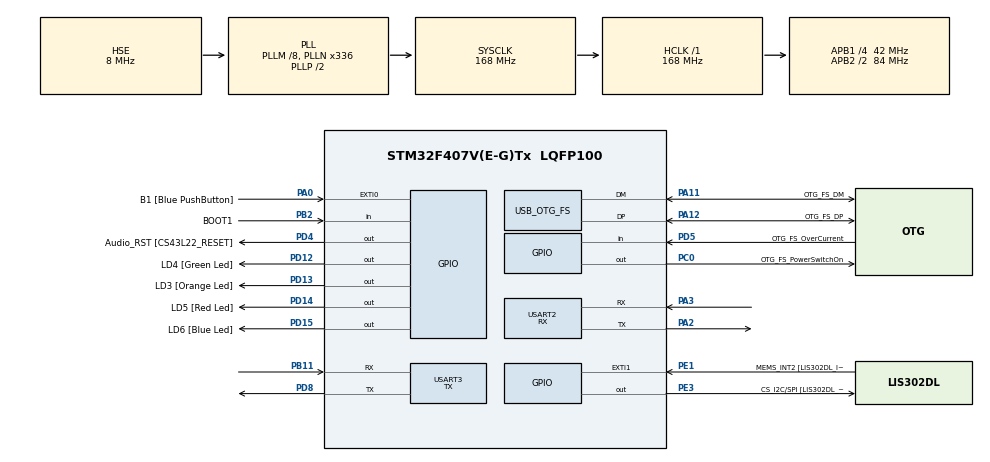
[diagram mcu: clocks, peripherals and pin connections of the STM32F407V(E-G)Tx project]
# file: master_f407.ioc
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Mcu.Family=STM32F4
Mcu.Name=STM32F407V(E-G)Tx
Mcu.Package=LQFP100
NVIC.OTG_FS_IRQn=true\:0\:0\:false\:false\:true\:true\:true\:true
NVIC.PriorityGroup=NVIC_PRIORITYGROUP_0
NVIC.USART2_IRQn=true\:0\:0\:false\:false\:true\:true\:true\:true
PA0-WKUP.GPIO_Label=B1 [Blue PushButton]
PA0-WKUP.GPIO_ModeDefaultEXTI=GPIO_MODE_EVT_RISING
PA0-WKUP.GPIO_PuPd=GPIO_NOPULL
PA0-WKUP.Signal=GPXTI0
PA10.GPIO_Label=OTG_FS_ID
PA10.GPIO_Mode=GPIO_MODE_AF_PP
PA10.GPIO_PuPd=GPIO_NOPULL
PA10.GPIO_Speed=GPIO_SPEED_FREQ_LOW
PA10.Signal=USB_OTG_FS_ID
PA11.GPIO_Label=OTG_FS_DM
PA11.GPIO_Mode=GPIO_MODE_AF_PP
PA11.GPIO_PuPd=GPIO_NOPULL
PA11.GPIO_Speed=GPIO_SPEED_FREQ_LOW
PA11.Mode=Device_Only
PA11.Signal=USB_OTG_FS_DM
PA12.GPIO_Label=OTG_FS_DP
PA12.GPIO_Mode=GPIO_MODE_AF_PP
PA12.GPIO_PuPd=GPIO_NOPULL
PA12.GPIO_Speed=GPIO_SPEED_FREQ_LOW
PA12.Mode=Device_Only
PA12.Signal=USB_OTG_FS_DP
PA13.GPIO_Label=SWDIO
PA13.Mode=Serial_Wire
PA13.Signal=SYS_JTMS-SWDIO
PA14.GPIO_Label=SWCLK
PA14.Mode=Serial_Wire
PA14.Signal=SYS_JTCK-SWCLK
PA2.Mode=Asynchronous
PA2.Signal=USART2_TX
PA3.Mode=Asynchronous
PA3.Signal=USART2_RX
PA4.GPIO_Label=I2S3_WS [CS43L22_LRCK]
PA4.GPIO_Mode=GPIO_MODE_AF_PP
PA4.GPIO_PuPd=GPIO_NOPULL
PA4.GPIO_Speed=GPIO_SPEED_FREQ_LOW
PA4.Signal=I2S3_WS
PA5.GPIO_Label=SPI1_SCK [LIS302DL_SCL/SPC]
PA5.GPIO_Mode=GPIO_MODE_AF_PP
PA5.GPIO_PuPd=GPIO_NOPULL
PA5.GPIO_Speed=GPIO_SPEED_FREQ_LOW
PA5.Signal=SPI1_SCK
PA6.GPIO_Label=SPI1_MISO [LIS302DL_SDO]
PA6.GPIO_Mode=GPIO_MODE_AF_PP
PA6.GPIO_PuPd=GPIO_NOPULL
PA6.GPIO_Speed=GPIO_SPEED_FREQ_LOW
PA6.Signal=SPI1_MISO
PA7.GPIO_Label=SPI1_MOSI [LIS302DL_SDA/SDI/SDO]
PA7.GPIO_Mode=GPIO_MODE_AF_PP
PA7.GPIO_PuPd=GPIO_NOPULL
PA7.GPIO_Speed=GPIO_SPEED_FREQ_LOW
PA7.Signal=SPI1_MOSI
PA9.GPIO_Label=VBUS_FS
PA9.GPIO_Mode=GPIO_MODE_INPUT
PA9.GPIO_PuPd=GPIO_NOPULL
PA9.Signal=USB_OTG_FS_VBUS
PB10.GPIO_Label=CLK_IN [MP45DT02_CLK]
PB10.GPIO_Mode=GPIO_MODE_AF_PP
PB10.GPIO_PuPd=GPIO_NOPULL
PB10.GPIO_Speed=GPIO_SPEED_FREQ_LOW
PB10.Signal=I2S2_CK
PB11.Mode=Asynchronous
PB11.Signal=USART3_RX
PB2.GPIO_Label=BOOT1
PB2.GPIO_Mode=GPIO_MODE_INPUT
PB2.GPIO_PuPd=GPIO_NOPULL
PB2.Signal=GPIO_Input
PB3.GPIO_Label=SWO
PB3.Signal=SYS_JTDO-SWO
PB6.GPIO_Label=Audio_SCL [CS43L22_SCL]
PB6.GPIO_Mode=GPIO_MODE_AF_OD
PB6.GPIO_Pu=GPIO_PULLUP
PB6.GPIO_PuPd=GPIO_NOPULL
PB6.GPIO_Speed=GPIO_SPEED_FREQ_LOW
PB6.Signal=I2C1_SCL
PB9.GPIO_Label=Audio_SDA [CS43L22_SDA]
PB9.GPIO_Mode=GPIO_MODE_AF_OD
PB9.GPIO_Pu=GPIO_PULLUP
PB9.GPIO_PuPd=GPIO_NOPULL
PB9.GPIO_Speed=GPIO_SPEED_FREQ_LOW
PB9.Signal=I2C1_SDA
PC0.GPIO_Label=OTG_FS_PowerSwitchOn
PC0.GPIO_PuPd=GPIO_NOPULL
PC0.GPIO_Speed=GPIO_SPEED_FREQ_LOW
PC0.PinState=GPIO_PIN_SET
PC0.Signal=GPIO_Output
PC10.GPIO_Label=I2S3_SCK [CS43L22_SCLK]
PC10.GPIO_Mode=GPIO_MODE_AF_PP
PC10.GPIO_PuPd=GPIO_NOPULL
PC10.GPIO_Speed=GPIO_SPEED_FREQ_LOW
PC10.Signal=I2S3_CK
PC12.GPIO_Label=I2S3_SD [CS43L22_SDIN]
PC12.GPIO_Mode=GPIO_MODE_AF_PP
PC12.GPIO_PuPd=GPIO_NOPULL
PC12.GPIO_Speed=GPIO_SPEED_FREQ_LOW
PC12.Signal=I2S3_SD
PC14-OSC32_IN.GPIO_Label=PC14-OSC32_IN
PC14-OSC32_IN.Mode=LSE-External-Oscillator
PC14-OSC32_IN.Signal=RCC_OSC32_IN
PC15-OSC32_OUT.GPIO_Label=PC15-OSC32_OUT
PC15-OSC32_OUT.Mode=LSE-External-Oscillator
PC15-OSC32_OUT.Signal=RCC_OSC32_OUT
PC3.GPIO_Label=PDM_OUT [MP45DT02_DOUT]
PC3.GPIO_Mode=GPIO_MODE_AF_PP
PC3.GPIO_PuPd=GPIO_NOPULL
PC3.GPIO_Speed=GPIO_SPEED_FREQ_LOW
PC3.Signal=I2S2_SD
PC7.GPIO_Label=I2S3_MCK [CS43L22_MCLK]
PC7.GPIO_Mode=GPIO_MODE_AF_PP
PC7.GPIO_PuPd=GPIO_NOPULL
PC7.GPIO_Speed=GPIO_SPEED_FREQ_LOW
PC7.Signal=I2S3_MCK
PD12.GPIO_Label=LD4 [Green Led]
PD12.GPIO_PuPd=GPIO_NOPULL
PD12.GPIO_Speed=GPIO_SPEED_FREQ_LOW
PD12.Signal=GPIO_Output
PD13.GPIO_Label=LD3 [Orange Led]
PD13.GPIO_PuPd=GPIO_NOPULL
PD13.GPIO_Speed=GPIO_SPEED_FREQ_LOW
PD13.Signal=GPIO_Output
PD14.GPIO_Label=LD5 [Red Led]
PD14.GPIO_PuPd=GPIO_NOPULL
PD14.GPIO_Speed=GPIO_SPEED_FREQ_LOW
PD14.Signal=GPIO_Output
PD15.GPIO_Label=LD6 [Blue Led]
PD15.GPIO_PuPd=GPIO_NOPULL
PD15.GPIO_Speed=GPIO_SPEED_FREQ_LOW
PD15.Signal=GPIO_Output
PD4.GPIO_Label=Audio_RST [CS43L22_RESET]
PD4.GPIO_PuPd=GPIO_NOPULL
PD4.GPIO_Speed=GPIO_SPEED_FREQ_LOW
PD4.Signal=GPIO_Output
PD5.GPIO_Label=OTG_FS_OverCurrent
PD5.GPIO_Mode=GPIO_MODE_INPUT
PD5.GPIO_PuPd=GPIO_NOPULL
PD5.Signal=GPIO_Input
PD8.Mode=Asynchronous
PD8.Signal=USART3_TX
PE1.GPIO_Label=MEMS_INT2 [LIS302DL_INT2]
PE1.GPIO_ModeDefaultEXTI=GPIO_MODE_EVT_RISING
PE1.GPIO_PuPd=GPIO_NOPULL
PE1.Signal=GPXTI1
PE3.GPIO_Label=CS_I2C/SPI [LIS302DL_CS_I2C/SPI]
PE3.GPIO_PuPd=GPIO_NOPULL
PE3.GPIO_Speed=GPIO_SPEED_FREQ_LOW
PE3.Signal=GPIO_Output
PH0-OSC_IN.GPIO_Label=PH0-OSC_IN
PH0-OSC_IN.Mode=HSE-External-Oscillator
PH0-OSC_IN.Signal=RCC_OSC_IN
PH1-OSC_OUT.GPIO_Label=PH1-OSC_OUT
PH1-OSC_OUT.Mode=HSE-External-Oscillator
PH1-OSC_OUT.Signal=RCC_OSC_OUT
ProjectManager.HeapSize=0x200
ProjectManager.StackSize=0x400
ProjectManager.TargetToolchain=STM32CubeIDE
RCC.48MHZClocksFreq_Value=48000000
RCC.AHBFreq_Value=168000000
RCC.APB1CLKDivider=RCC_HCLK_DIV4
RCC.APB1Freq_Value=42000000
RCC.APB1TimFreq_Value=84000000
RCC.APB2CLKDivider=RCC_HCLK_DIV2
RCC.APB2Freq_Value=84000000
RCC.APB2TimFreq_Value=168000000
RCC.CortexFreq_Value=168000000
RCC.HCLKFreq_Value=168000000
RCC.HSE_VALUE=8000000
RCC.HSI_VALUE=16000000
RCC.PLLM=8
RCC.PLLN=336
RCC.PLLQ=7
RCC.PLLSourceVirtual=RCC_PLLSOURCE_HSE
RCC.SYSCLKFreq_VALUE=168000000
RCC.SYSCLKSource=RCC_SYSCLKSOURCE_PLLCLK
RCC.VCOOutputFreq_Value=336000000
USART2.Mode=MODE_RX
USART2.VirtualMode=VM_ASYNC
USART3.Mode=MODE_TX
USART3.VirtualMode=VM_ASYNC
USB_DEVICE.CLASS_NAME_FS=CDC
USB_DEVICE.VirtualMode-CDC_FS=Cdc
USB_DEVICE.VirtualModeFS=Cdc_FS
USB_OTG_FS.VirtualMode=Device_Only
VP_USB_DEVICE_VS_USB_DEVICE_CDC_FS.Mode=CDC_FS
board=STM32F407G-DISC1

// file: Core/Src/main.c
/* USER CODE BEGIN Header */
/**
  ******************************************************************************
  * @file           : main.c
  * @brief          : Main program body
  ******************************************************************************
  * @attention
  *
  * Copyright (c) 2025 STMicroelectronics.
  * All rights reserved.
  *
  * This software is licensed under terms that can be found in the LICENSE file
  * in the root directory of this software component.
  * If no LICENSE file comes with this software, it is provided AS-IS.
  *
  ******************************************************************************
  */
/* USER CODE END Header */
#include "main.h"
#include <stdint.h>

/* ADD: USB + stdio for formatting */
#include "usb_device.h"
#include "usbd_cdc_if.h"
#include <stdio.h>

/* USER CODE BEGIN PTD */
typedef struct
{
    float    temp_inlet;      // °C
    float    temp_outlet;     // °C
    float    pressure_bar;    // bar
    float    motor_rpm;       // rpm

    uint8_t  estop_active;    // 0/1
    uint8_t  door_closed;     // 0/1
    uint8_t  alarm_active;    // 0/1

    uint16_t alarm_code;      // error code
    uint32_t uptime_ms;       // ms
} MachineState_t;
/* USER CODE END PTD */

/* USER CODE BEGIN PD */
/* ---- Protocol constants ---- */

#define FRAME_STX     0xAA     // Start-of-frame marker
#define FRAME_VERSION 0x01     // Protocol version
#define FRAME_SIZE    19       // Total bytes in one frame
/* USER CODE END PD */

UART_HandleTypeDef huart2;
UART_HandleTypeDef huart3;

/* USER CODE BEGIN PV */
/* ---- Global variables ---- */

static MachineState_t g_machine_rx;             // latest decoded state
static uint8_t        g_rx_frame[FRAME_SIZE];   // raw received frame bytes

/* USER CODE END PV */

void SystemClock_Config(void);
static void MX_GPIO_Init(void);
static void MX_USART2_UART_Init(void);
static void MX_USART3_UART_Init(void);

/* USER CODE BEGIN 0 */

/* ---- Helper: checksum ---- */

static uint8_t calc_checksum(const uint8_t *data, uint8_t len)
{
    uint16_t sum = 0;
    for (uint8_t i = 0; i < len; i++)
    {
        sum += data[i];
    }
    return (uint8_t)(sum & 0xFF);
}
/* ---- Helper: parse full frame into MachineState_t ---- */

static int parse_frame_full(const uint8_t *buf, MachineState_t *m)
{
    // 1) Basic header checks
    if (buf[0] != FRAME_STX)
        return -1;

    if (buf[1] != FRAME_SIZE - 3)   // LEN should be payload length = 16
        return -2;

    if (buf[2] != FRAME_VERSION)
        return -3;

    // 2) Checksum
    uint8_t expected = calc_checksum(buf, FRAME_SIZE - 1);
    uint8_t actual   = buf[FRAME_SIZE - 1];
    if (expected != actual)
        return -4;

    // 3) Unpack fields (little-endian)
    uint8_t idx = 3; // start of payload (after STX, LEN, VERSION)

    int16_t  temp_in_q1  = (int16_t)(buf[idx] | (buf[idx+1] << 8));
    idx += 2;

    int16_t  temp_out_q1 = (int16_t)(buf[idx] | (buf[idx+1] << 8));
    idx += 2;

    uint16_t press_q2    = (uint16_t)(buf[idx] | (buf[idx+1] << 8));
    idx += 2;

    uint16_t rpm_u16     = (uint16_t)(buf[idx] | (buf[idx+1] << 8));
    idx += 2;

    uint8_t  flags       = buf[idx++];

    uint16_t alarm       = (uint16_t)(buf[idx] | (buf[idx+1] << 8));
    idx += 2;

    uint32_t uptime      =  (uint32_t)buf[idx]
                          | ((uint32_t)buf[idx+1] << 8)
                          | ((uint32_t)buf[idx+2] << 16)
                          | ((uint32_t)buf[idx+3] << 24);
    idx += 4;

    // 4) Convert to engineering units
    m->temp_inlet   = (float)temp_in_q1  / 10.0f;
    m->temp_outlet  = (float)temp_out_q1 / 10.0f;
    m->pressure_bar = (float)press_q2    / 100.0f;
    m->motor_rpm    = (float)rpm_u16;

    m->estop_active = (flags & (1 << 0)) ? 1 : 0;
    m->door_closed  = (flags & (1 << 1)) ? 1 : 0;
    m->alarm_active = (flags & (1 << 2)) ? 1 : 0;

    m->alarm_code   = alarm;
    m->uptime_ms    = uptime;

    return 0; // success
}
/* USER CODE END 0 */

int main(void)
{

  /* MCU Configuration--------------------------------------------------------*/

  /* Reset of all peripherals, Initializes the Flash interface and the Systick. */
  HAL_Init();

  /* Configure the system clock */
  SystemClock_Config();

  /* Initialize all configured peripherals */
  MX_GPIO_Init();
  MX_USART2_UART_Init();
  MX_USART3_UART_Init();
  MX_USB_DEVICE_Init();
  /* USER CODE BEGIN 2 */
  printf("F407 master started, waiting for frames...\r\n");
  /* USER CODE END 2 */

  /* Infinite loop */
  while (1)
  {
      HAL_StatusTypeDef st;
      uint8_t byte;

      // 1) Wait for start byte from machine (F429)
      st = HAL_UART_Receive(&huart2, &byte, 1, HAL_MAX_DELAY);
      if (st != HAL_OK)
      {
          // some error, ignore and keep waiting
          continue;
      }

      if (byte != FRAME_STX)
      {
          // not our start byte, ignore and keep looking
          continue;
      }

      // 2) We got STX, now read the rest of the frame
      g_rx_frame[0] = byte;
      st = HAL_UART_Receive(&huart2, &g_rx_frame[1], FRAME_SIZE - 1, 200);
      if (st != HAL_OK)
      {
          // timeout or error, ignore and resync
          continue;
      }

      // 3) Parse full frame into g_machine_rx
      int res = parse_frame_full(g_rx_frame, &g_machine_rx);
      if (res != 0)
      {
          // invalid frame (checksum, length, etc.)
          continue;
      }
      /* Forward raw frame through USB CDC */
      CDC_Transmit_FS(g_rx_frame, FRAME_SIZE);

      // 4) Use the decoded values (here: drive LEDs)

      // Example LED mapping (adjust to your pins!):
      // - PD12: door_closed
      // - PD13: estop_active
      // - PD14: alarm_active

      if (g_machine_rx.door_closed)
          HAL_GPIO_WritePin(GPIOD, GPIO_PIN_12, GPIO_PIN_SET);
      else
          HAL_GPIO_WritePin(GPIOD, GPIO_PIN_12, GPIO_PIN_RESET);

      if (g_machine_rx.estop_active)
          HAL_GPIO_WritePin(GPIOD, GPIO_PIN_13, GPIO_PIN_SET);
      else
          HAL_GPIO_WritePin(GPIOD, GPIO_PIN_13, GPIO_PIN_RESET);

      if (g_machine_rx.alarm_active)
          HAL_GPIO_WritePin(GPIOD, GPIO_PIN_14, GPIO_PIN_SET);
      else
          HAL_GPIO_WritePin(GPIOD, GPIO_PIN_14, GPIO_PIN_RESET);

      // Small delay just so we don't hammer the bus like crazy
      HAL_Delay(10);
  }
}

void SystemClock_Config(void)
{
  RCC_OscInitTypeDef RCC_OscInitStruct = {0};
  RCC_ClkInitTypeDef RCC_ClkInitStruct = {0};

  /** Configure the main internal regulator output voltage
  */
  __HAL_RCC_PWR_CLK_ENABLE();
  __HAL_PWR_VOLTAGESCALING_CONFIG(PWR_REGULATOR_VOLTAGE_SCALE1);

  /** Initializes the RCC Oscillators according to the specified parameters
  * in the RCC_OscInitTypeDef structure.
  */
  RCC_OscInitStruct.OscillatorType = RCC_OSCILLATORTYPE_HSE;
  RCC_OscInitStruct.HSEState = RCC_HSE_ON;
  RCC_OscInitStruct.PLL.PLLState = RCC_PLL_ON;
  RCC_OscInitStruct.PLL.PLLSource = RCC_PLLSOURCE_HSE;
  RCC_OscInitStruct.PLL.PLLM = 8;
  RCC_OscInitStruct.PLL.PLLN = 336;
  RCC_OscInitStruct.PLL.PLLP = RCC_PLLP_DIV2;
  RCC_OscInitStruct.PLL.PLLQ = 7;
  if (HAL_RCC_OscConfig(&RCC_OscInitStruct) != HAL_OK)
  {
    Error_Handler();
  }

  /** Initializes the CPU, AHB and APB buses clocks
  */
  RCC_ClkInitStruct.ClockType = RCC_CLOCKTYPE_HCLK|RCC_CLOCKTYPE_SYSCLK
                              |RCC_CLOCKTYPE_PCLK1|RCC_CLOCKTYPE_PCLK2;
  RCC_ClkInitStruct.SYSCLKSource = RCC_SYSCLKSOURCE_PLLCLK;
  RCC_ClkInitStruct.AHBCLKDivider = RCC_SYSCLK_DIV1;
  RCC_ClkInitStruct.APB1CLKDivider = RCC_HCLK_DIV4;
  RCC_ClkInitStruct.APB2CLKDivider = RCC_HCLK_DIV2;

  if (HAL_RCC_ClockConfig(&RCC_ClkInitStruct, FLASH_LATENCY_5) != HAL_OK)
  {
    Error_Handler();
  }
}

static void MX_USART2_UART_Init(void)
{

  huart2.Instance = USART2;
  huart2.Init.BaudRate = 115200;
  huart2.Init.WordLength = UART_WORDLENGTH_8B;
  huart2.Init.StopBits = UART_STOPBITS_1;
  huart2.Init.Parity = UART_PARITY_NONE;
  huart2.Init.Mode = UART_MODE_RX;
  huart2.Init.HwFlowCtl = UART_HWCONTROL_NONE;
  huart2.Init.OverSampling = UART_OVERSAMPLING_16;
  if (HAL_UART_Init(&huart2) != HAL_OK)
  {
    Error_Handler();
  }

}

static void MX_USART3_UART_Init(void)
{

  huart3.Instance = USART3;
  huart3.Init.BaudRate = 115200;
  huart3.Init.WordLength = UART_WORDLENGTH_8B;
  huart3.Init.StopBits = UART_STOPBITS_1;
  huart3.Init.Parity = UART_PARITY_NONE;
  huart3.Init.Mode = UART_MODE_TX;
  huart3.Init.HwFlowCtl = UART_HWCONTROL_NONE;
  huart3.Init.OverSampling = UART_OVERSAMPLING_16;
  if (HAL_UART_Init(&huart3) != HAL_OK)
  {
    Error_Handler();
  }

}

static void MX_GPIO_Init(void)
{
  GPIO_InitTypeDef GPIO_InitStruct = {0};

  /* GPIO Ports Clock Enable */
  __HAL_RCC_GPIOE_CLK_ENABLE();
  __HAL_RCC_GPIOC_CLK_ENABLE();
  __HAL_RCC_GPIOH_CLK_ENABLE();
  __HAL_RCC_GPIOA_CLK_ENABLE();
  __HAL_RCC_GPIOB_CLK_ENABLE();
  __HAL_RCC_GPIOD_CLK_ENABLE();

  /*Configure GPIO pin Output Level */
  HAL_GPIO_WritePin(CS_I2C_SPI_GPIO_Port, CS_I2C_SPI_Pin, GPIO_PIN_RESET);

  /*Configure GPIO pin Output Level */
  HAL_GPIO_WritePin(OTG_FS_PowerSwitchOn_GPIO_Port, OTG_FS_PowerSwitchOn_Pin, GPIO_PIN_SET);

  /*Configure GPIO pin Output Level */
  HAL_GPIO_WritePin(GPIOD, LD4_Pin|LD3_Pin|LD5_Pin|LD6_Pin
                          |Audio_RST_Pin, GPIO_PIN_RESET);

  /*Configure GPIO pin : CS_I2C_SPI_Pin */
  GPIO_InitStruct.Pin = CS_I2C_SPI_Pin;
  GPIO_InitStruct.Mode = GPIO_MODE_OUTPUT_PP;
  GPIO_InitStruct.Pull = GPIO_NOPULL;
  GPIO_InitStruct.Speed = GPIO_SPEED_FREQ_LOW;
  HAL_GPIO_Init(CS_I2C_SPI_GPIO_Port, &GPIO_InitStruct);

  /*Configure GPIO pin : OTG_FS_PowerSwitchOn_Pin */
  GPIO_InitStruct.Pin = OTG_FS_PowerSwitchOn_Pin;
  GPIO_InitStruct.Mode = GPIO_MODE_OUTPUT_PP;
  GPIO_InitStruct.Pull = GPIO_NOPULL;
  GPIO_InitStruct.Speed = GPIO_SPEED_FREQ_LOW;
  HAL_GPIO_Init(OTG_FS_PowerSwitchOn_GPIO_Port, &GPIO_InitStruct);

  /*Configure GPIO pin : PDM_OUT_Pin */
  GPIO_InitStruct.Pin = PDM_OUT_Pin;
  GPIO_InitStruct.Mode = GPIO_MODE_AF_PP;
  GPIO_InitStruct.Pull = GPIO_NOPULL;
  GPIO_InitStruct.Speed = GPIO_SPEED_FREQ_LOW;
  GPIO_InitStruct.Alternate = GPIO_AF5_SPI2;
  HAL_GPIO_Init(PDM_OUT_GPIO_Port, &GPIO_InitStruct);

  /*Configure GPIO pin : B1_Pin */
  GPIO_InitStruct.Pin = B1_Pin;
  GPIO_InitStruct.Mode = GPIO_MODE_EVT_RISING;
  GPIO_InitStruct.Pull = GPIO_NOPULL;
  HAL_GPIO_Init(B1_GPIO_Port, &GPIO_InitStruct);

  /*Configure GPIO pin : I2S3_WS_Pin */
  GPIO_InitStruct.Pin = I2S3_WS_Pin;
  GPIO_InitStruct.Mode = GPIO_MODE_AF_PP;
  GPIO_InitStruct.Pull = GPIO_NOPULL;
  GPIO_InitStruct.Speed = GPIO_SPEED_FREQ_LOW;
  GPIO_InitStruct.Alternate = GPIO_AF6_SPI3;
  HAL_GPIO_Init(I2S3_WS_GPIO_Port, &GPIO_InitStruct);

  /*Configure GPIO pins : SPI1_SCK_Pin SPI1_MISO_Pin SPI1_MOSI_Pin */
  GPIO_InitStruct.Pin = SPI1_SCK_Pin|SPI1_MISO_Pin|SPI1_MOSI_Pin;
  GPIO_InitStruct.Mode = GPIO_MODE_AF_PP;
  GPIO_InitStruct.Pull = GPIO_NOPULL;
  GPIO_InitStruct.Speed = GPIO_SPEED_FREQ_LOW;
  GPIO_InitStruct.Alternate = GPIO_AF5_SPI1;
  HAL_GPIO_Init(GPIOA, &GPIO_InitStruct);

  /*Configure GPIO pin : BOOT1_Pin */
  GPIO_InitStruct.Pin = BOOT1_Pin;
  GPIO_InitStruct.Mode = GPIO_MODE_INPUT;
  GPIO_InitStruct.Pull = GPIO_NOPULL;
  HAL_GPIO_Init(BOOT1_GPIO_Port, &GPIO_InitStruct);

  /*Configure GPIO pin : CLK_IN_Pin */
  GPIO_InitStruct.Pin = CLK_IN_Pin;
  GPIO_InitStruct.Mode = GPIO_MODE_AF_PP;
  GPIO_InitStruct.Pull = GPIO_NOPULL;
  GPIO_InitStruct.Speed = GPIO_SPEED_FREQ_LOW;
  GPIO_InitStruct.Alternate = GPIO_AF5_SPI2;
  HAL_GPIO_Init(CLK_IN_GPIO_Port, &GPIO_InitStruct);

  /*Configure GPIO pins : LD4_Pin LD3_Pin LD5_Pin LD6_Pin
                           Audio_RST_Pin */
  GPIO_InitStruct.Pin = LD4_Pin|LD3_Pin|LD5_Pin|LD6_Pin
                          |Audio_RST_Pin;
  GPIO_InitStruct.Mode = GPIO_MODE_OUTPUT_PP;
  GPIO_InitStruct.Pull = GPIO_NOPULL;
  GPIO_InitStruct.Speed = GPIO_SPEED_FREQ_LOW;
  HAL_GPIO_Init(GPIOD, &GPIO_InitStruct);

  /*Configure GPIO pins : I2S3_MCK_Pin I2S3_SCK_Pin I2S3_SD_Pin */
  GPIO_InitStruct.Pin = I2S3_MCK_Pin|I2S3_SCK_Pin|I2S3_SD_Pin;
  GPIO_InitStruct.Mode = GPIO_MODE_AF_PP;
  GPIO_InitStruct.Pull = GPIO_NOPULL;
  GPIO_InitStruct.Speed = GPIO_SPEED_FREQ_LOW;
  GPIO_InitStruct.Alternate = GPIO_AF6_SPI3;
  HAL_GPIO_Init(GPIOC, &GPIO_InitStruct);

  /*Configure GPIO pin : OTG_FS_OverCurrent_Pin */
  GPIO_InitStruct.Pin = OTG_FS_OverCurrent_Pin;
  GPIO_InitStruct.Mode = GPIO_MODE_INPUT;
  GPIO_InitStruct.Pull = GPIO_NOPULL;
  HAL_GPIO_Init(OTG_FS_OverCurrent_GPIO_Port, &GPIO_InitStruct);

  /*Configure GPIO pins : Audio_SCL_Pin Audio_SDA_Pin */
  GPIO_InitStruct.Pin = Audio_SCL_Pin|Audio_SDA_Pin;
  GPIO_InitStruct.Mode = GPIO_MODE_AF_OD;
  GPIO_InitStruct.Pull = GPIO_PULLUP;
  GPIO_InitStruct.Speed = GPIO_SPEED_FREQ_LOW;
  GPIO_InitStruct.Alternate = GPIO_AF4_I2C1;
  HAL_GPIO_Init(GPIOB, &GPIO_InitStruct);

  /*Configure GPIO pin : MEMS_INT2_Pin */
  GPIO_InitStruct.Pin = MEMS_INT2_Pin;
  GPIO_InitStruct.Mode = GPIO_MODE_EVT_RISING;
  GPIO_InitStruct.Pull = GPIO_NOPULL;
  HAL_GPIO_Init(MEMS_INT2_GPIO_Port, &GPIO_InitStruct);

}

void Error_Handler(void)
{
  __disable_irq();
  while (1)
  {
  }
}
